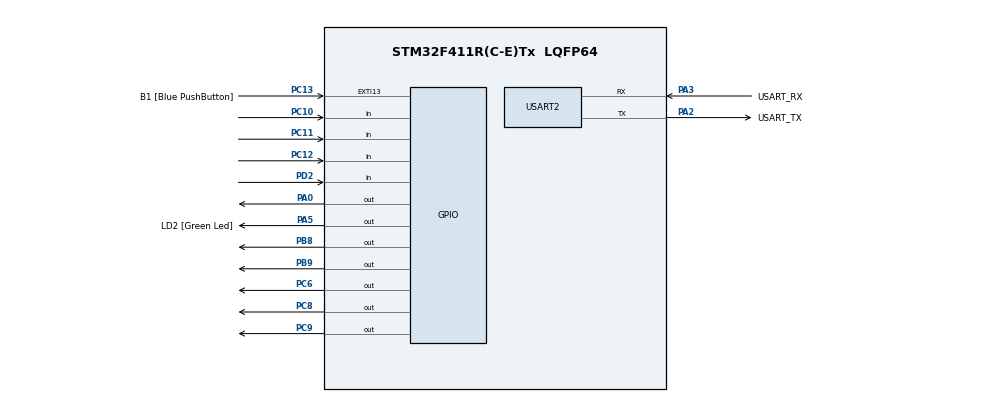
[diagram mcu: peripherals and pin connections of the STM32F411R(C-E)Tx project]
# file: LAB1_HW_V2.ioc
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Mcu.Family=STM32F4
Mcu.Name=STM32F411R(C-E)Tx
Mcu.Package=LQFP64
NVIC.PriorityGroup=NVIC_PRIORITYGROUP_0
PA0-WKUP.Signal=GPIO_Output
PA13.GPIO_Label=TMS
PA13.Mode=Serial_Wire
PA13.Signal=SYS_JTMS-SWDIO
PA14.GPIO_Label=TCK
PA14.Mode=Serial_Wire
PA14.Signal=SYS_JTCK-SWCLK
PA2.GPIO_Label=USART_TX
PA2.Mode=Asynchronous
PA2.Signal=USART2_TX
PA3.GPIO_Label=USART_RX
PA3.Mode=Asynchronous
PA3.Signal=USART2_RX
PA5.GPIO_Label=LD2 [Green Led]
PA5.Signal=GPIO_Output
PB3.GPIO_Label=SWO
PB3.Signal=SYS_JTDO-SWO
PB8.Signal=GPIO_Output
PB9.Signal=GPIO_Output
PC10.GPIO_PuPd=GPIO_PULLUP
PC10.Signal=GPIO_Input
PC11.GPIO_PuPd=GPIO_PULLUP
PC11.Signal=GPIO_Input
PC12.GPIO_PuPd=GPIO_PULLUP
PC12.Signal=GPIO_Input
PC13-ANTI_TAMP.GPIO_Label=B1 [Blue PushButton]
PC13-ANTI_TAMP.GPIO_ModeDefaultEXTI=GPIO_MODE_IT_FALLING
PC13-ANTI_TAMP.Signal=GPXTI13
PC14-OSC32_IN.Mode=LSE-External-Oscillator
PC14-OSC32_IN.Signal=RCC_OSC32_IN
PC15-OSC32_OUT.Mode=LSE-External-Oscillator
PC15-OSC32_OUT.Signal=RCC_OSC32_OUT
PC6.Signal=GPIO_Output
PC8.Signal=GPIO_Output
PC9.Signal=GPIO_Output
PD2.GPIO_PuPd=GPIO_PULLUP
PD2.Signal=GPIO_Input
PH0\ -\ OSC_IN.Mode=HSE-External-Clock-Source
PH0\ -\ OSC_IN.Signal=RCC_OSC_IN
PH1\ -\ OSC_OUT.Mode=HSE-External-Clock-Source
PH1\ -\ OSC_OUT.Signal=RCC_OSC_OUT
ProjectManager.HeapSize=0x200
ProjectManager.StackSize=0x400
ProjectManager.TargetToolchain=STM32CubeIDE
RCC.48MHZClocksFreq_Value=84000000
RCC.AHBFreq_Value=84000000
RCC.APB1CLKDivider=RCC_HCLK_DIV2
RCC.APB1Freq_Value=42000000
RCC.APB1TimFreq_Value=84000000
RCC.APB2Freq_Value=84000000
RCC.APB2TimFreq_Value=84000000
RCC.CortexFreq_Value=84000000
RCC.FLatency-AdvancedSettings=FLASH_LATENCY_2
RCC.HCLKFreq_Value=84000000
RCC.HSE_VALUE=8000000
RCC.HSI_VALUE=16000000
RCC.PLLN=336
RCC.PLLP=RCC_PLLP_DIV4
RCC.SYSCLKFreq_VALUE=84000000
RCC.SYSCLKSource=RCC_SYSCLKSOURCE_PLLCLK
RCC.VCOOutputFreq_Value=336000000
USART2.VirtualMode=VM_ASYNC
board=NUCLEO-F411RE

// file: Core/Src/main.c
/* USER CODE BEGIN Header */
/**
 ******************************************************************************
 * @file           : main.c
 * @brief          : Main program body
 ******************************************************************************
 * @attention
 *
 * Copyright (c) 2023 STMicroelectronics.
 * All rights reserved.
 *
 * This software is licensed under terms that can be found in the LICENSE file
 * in the root directory of this software component.
 * If no LICENSE file comes with this software, it is provided AS-IS.
 *
 ******************************************************************************
 */
/* USER CODE END Header */
#include "main.h"

UART_HandleTypeDef huart2;

/* USER CODE BEGIN PV */

//L1 = PC10
//L2 = PC11
//L3 = PC12
//L4 = PD2

//R1 = PC9
//R2 = PC8
//R3 = PB8
//R4 = PC6
static int keep_button[16];
static int assign_button[16];
static int state = 0;

static int current_button;
static int last_button;

//check state changing
static int error_count;
int last_state;

typedef struct test {
	char GPIO[20];
	char GPIO_PIN[20];
} Tester;

///tester Key_R1 = { GPIOC, GPIO_PIN_9 };
//tester Key_R2 = { GPIOC, GPIO_PIN_8 };
//tester Key_R3 = { GPIOB, GPIO_PIN_8 };
//tester Key_R4 = { GPIOC, GPIO_PIN_6 };
void assign(){
	for(int var = 0; var < 16; var++){
		assign_button[var] = keep_button[var];
	}
}

void set(char GPIO[], int GPIO_PIN) {
	GPIO_PinState HIGH = 1;
	HAL_GPIO_WritePin(GPIO, GPIO_PIN, HIGH);
}

void reset(char GPIO[], int GPIO_PIN) {
	GPIO_PinState LOW = 0;
	HAL_GPIO_WritePin(GPIO, GPIO_PIN, LOW);
}

void get_val(int case_num) {

	current_button = 0;

	keep_button[case_num * 4] = HAL_GPIO_ReadPin(GPIOC, GPIO_PIN_10);
	keep_button[case_num * 4 + 1] = HAL_GPIO_ReadPin(GPIOC, GPIO_PIN_11);
	keep_button[case_num * 4 + 2] = HAL_GPIO_ReadPin(GPIOC, GPIO_PIN_12);
	keep_button[case_num * 4 + 3] = HAL_GPIO_ReadPin(GPIOD, GPIO_PIN_2);

	for(int var = 0;var < case_num * 4 + 4;var++){
		if(keep_button[var] == 0){
			current_button = 1;
			break;
		}
	}

}

int see_val() {
	for (int var = 0; var < 16; ++var) {
		if (assign_button[var] == 0) {
			return var+1;
		}
	}
}

void light_an_led() {
	GPIO_PinState HIGH = 1;
	HAL_GPIO_WritePin(GPIOA, GPIO_PIN_5, HIGH);
}

void lid_an_led(){
	GPIO_PinState LOW = 0;
	HAL_GPIO_WritePin(GPIOA, GPIO_PIN_5, LOW);
}

void check_it(){
	static int check = 0;
//	GPIO_PinState Debug = 1;
	switch (check) {
		case 0:
			last_state = 0;
			if (see_val() == 10) {
				check += 1; //6
			} else if (see_val() == 13) {
				check = 0;
			} else if (see_val() != 10){
				check = 99;
				error_count++;
			}
			break;
		case 1:
			last_state = 1;
			if (see_val() == 2) {
				check += 1; //64
			} else if (see_val() == 13) {
				check = 0;
			} else if (see_val() != 2){
				check = 99;
				error_count++;
			}
			break;
		case 2:
		    last_state = 2;
			if (see_val() == 11) {
				check += 1; //643
			} else if (see_val() == 13) {
				check = 0;
			} else if (see_val() != 11){
				check = 99;
				error_count++;
			}
			break;
		case 3:
			last_state = 3;
			if (see_val() == 2) {
				check += 1; //6434
			} else if (see_val() == 13) {
				check = 0;
			} else if (see_val() != 2){
				check = 99;
				error_count++;
			}
			break;
		case 4:
			last_state = 4;
			if (see_val() == 4) {
				check += 1; //64340
			} else if (see_val() == 13) {
				check = 0;
			} else if (see_val() != 4){
				check = 99;
				error_count++;
			}
			break;
		case 5:
			last_state = 5;
			if (see_val() == 6) {
				check += 1; //643405
			} else if (see_val() == 13) {
				check = 0;
			} else if (see_val() != 6){
				check = 99;
				error_count++;
			}
			break;
		case 6:
			last_state = 6;
			if (see_val() == 4) {
				check += 1; //6434050
			} else if (see_val() == 13) {
				check = 0;
			} else if (see_val() != 4){
				check = 99;
				error_count++;
			}
			break;
		case 7:
			last_state = 7;
			if (see_val() == 4) {
				check += 1; //64340500
			} else if (see_val() == 13) {
				check = 0;
			} else if (see_val() != 4){
				check = 99;
				error_count++;
			}
			break;
		case 8:
			last_state = 8;
			if (see_val() == 4) {
				check += 1; //643405000
			} else if (see_val() == 13) {
				check = 0;
			} else if (see_val() != 4){
				check = 99;
				error_count++;
			}
			break;
		case 9:
			last_state = 9;
			if (see_val() == 6) {
				check += 1; //6434050005
			} else if (see_val() == 13) {
				check = 0;
			} else if (see_val() != 6){
				check = 99;
				error_count++;
			}
			break;
		case 10:
			last_state = 10;
			if (see_val() == 5) {
				check += 1; //64340500058
			} else if (see_val() == 13) {
				check = 0;
			} else if (see_val() != 5){
				check = 99;
				error_count++;
			}
			break;
		case 11:
			last_state = 11;
			if (see_val() == 16) {
				light_an_led();
				check = 12 ; //OK
			} else if (see_val() == 13) {
				check = 0;
			} else if (see_val() != 16){
				check = 99;
				error_count++;
			}
			break;
		case 12:
			last_state = 12;
			if (see_val() == 13){
				lid_an_led();
				check = 0;
			} else if(see_val() != 13){
				check = 99;
				error_count++;
			}
		break;
		case 99:
			if(see_val() == 14){
				error_count -= 1;
			}
			if(error_count <= 0){
				check = last_state;
			}
			else if(see_val() == 13){
				check = 0;
			}
			else if(see_val() != 14){
				error_count++;
			}
		break;
		}

//	else if (see_val() != 10){
//					check = 99;
//					error_count++;
//				}

}

/* USER CODE END PV */

void SystemClock_Config(void);
static void MX_GPIO_Init(void);
static void MX_USART2_UART_Init(void);

int main(void) {

	/* MCU Configuration--------------------------------------------------------*/

	/* Reset of all peripherals, Initializes the Flash interface and the Systick. */
	HAL_Init();

	/* Configure the system clock */
	SystemClock_Config();

	/* Initialize all configured peripherals */
	MX_GPIO_Init();
	MX_USART2_UART_Init();

	/* Infinite loop */
	while (1)
	{

		/* USER CODE BEGIN 3 */
		static uint32_t timestamp1 = 10;
		GPIO_PinState HIGH = 1;
		GPIO_PinState LOW = 0;

		if (timestamp1 <= HAL_GetTick()){
			timestamp1 = HAL_GetTick() + 10;

			switch(state) {
			case 0:
					//reset(tester[0], tester[2]);
					HAL_GPIO_WritePin(GPIOC, GPIO_PIN_9, LOW);
					get_val(state);
					HAL_GPIO_WritePin(GPIOC, GPIO_PIN_9, HIGH);
					HAL_GPIO_WritePin(GPIOC, GPIO_PIN_8, LOW);
					state++;

					//set(tester[0], tester[2]);

			break;
			case 1:
	//				reset(tester[0], tester[3]);
					get_val(state);
					HAL_GPIO_WritePin(GPIOC, GPIO_PIN_8, HIGH);
					HAL_GPIO_WritePin(GPIOB, GPIO_PIN_8, LOW);
					state++;

	//				set(tester[0], tester[3]);

			break;
			case 2:
	//				reset(tester[1], tester[3]);
					get_val(state);
					HAL_GPIO_WritePin(GPIOB, GPIO_PIN_8, HIGH);
					HAL_GPIO_WritePin(GPIOC, GPIO_PIN_6, LOW);
					state++;

	//				set(tester[1], tester[3]);

			break;
			case 3:
	//				reset(tester[0], tester[4]);
					get_val(state);
					HAL_GPIO_WritePin(GPIOC, GPIO_PIN_6, HIGH);
					HAL_GPIO_WritePin(GPIOC, GPIO_PIN_9, LOW);
	//				set(tester[0], tester[4]);

					if(current_button == 1){
						assign();
					}
					if (last_button == 1 && current_button == 0){
						check_it();
					}

				last_button = current_button;
				state = 0;
				break;

			}

		}

				/* USER CODE END 3 */

	}
}
			/**
			 * @brief System Clock Configuration
			 * @retval None
			 */
			void SystemClock_Config(void) {
				RCC_OscInitTypeDef RCC_OscInitStruct = { 0 };
				RCC_ClkInitTypeDef RCC_ClkInitStruct = { 0 };

				/** Configure the main internal regulator output voltage
				 */
				__HAL_RCC_PWR_CLK_ENABLE();
				__HAL_PWR_VOLTAGESCALING_CONFIG(PWR_REGULATOR_VOLTAGE_SCALE1);

				/** Initializes the RCC Oscillators according to the specified parameters
				 * in the RCC_OscInitTypeDef structure.
				 */
				RCC_OscInitStruct.OscillatorType = RCC_OSCILLATORTYPE_HSI;
				RCC_OscInitStruct.HSIState = RCC_HSI_ON;
				RCC_OscInitStruct.HSICalibrationValue =
						RCC_HSICALIBRATION_DEFAULT;
				RCC_OscInitStruct.PLL.PLLState = RCC_PLL_ON;
				RCC_OscInitStruct.PLL.PLLSource = RCC_PLLSOURCE_HSI;
				RCC_OscInitStruct.PLL.PLLM = 16;
				RCC_OscInitStruct.PLL.PLLN = 336;
				RCC_OscInitStruct.PLL.PLLP = RCC_PLLP_DIV4;
				RCC_OscInitStruct.PLL.PLLQ = 4;
				if (HAL_RCC_OscConfig(&RCC_OscInitStruct) != HAL_OK) {
					Error_Handler();
				}

				/** Initializes the CPU, AHB and APB buses clocks
				 */
				RCC_ClkInitStruct.ClockType = RCC_CLOCKTYPE_HCLK
						| RCC_CLOCKTYPE_SYSCLK | RCC_CLOCKTYPE_PCLK1
						| RCC_CLOCKTYPE_PCLK2;
				RCC_ClkInitStruct.SYSCLKSource = RCC_SYSCLKSOURCE_PLLCLK;
				RCC_ClkInitStruct.AHBCLKDivider = RCC_SYSCLK_DIV1;
				RCC_ClkInitStruct.APB1CLKDivider = RCC_HCLK_DIV2;
				RCC_ClkInitStruct.APB2CLKDivider = RCC_HCLK_DIV1;

				if (HAL_RCC_ClockConfig(&RCC_ClkInitStruct, FLASH_LATENCY_2)
						!= HAL_OK) {
					Error_Handler();
				}
			}

			/**
			 * @brief USART2 Initialization Function
			 * @param None
			 * @retval None
			 */
			static void MX_USART2_UART_Init(void) {

				huart2.Instance = USART2;
				huart2.Init.BaudRate = 115200;
				huart2.Init.WordLength = UART_WORDLENGTH_8B;
				huart2.Init.StopBits = UART_STOPBITS_1;
				huart2.Init.Parity = UART_PARITY_NONE;
				huart2.Init.Mode = UART_MODE_TX_RX;
				huart2.Init.HwFlowCtl = UART_HWCONTROL_NONE;
				huart2.Init.OverSampling = UART_OVERSAMPLING_16;
				if (HAL_UART_Init(&huart2) != HAL_OK) {
					Error_Handler();
				}

			}

			/**
			 * @brief GPIO Initialization Function
			 * @param None
			 * @retval None
			 */
			static void MX_GPIO_Init(void) {
				GPIO_InitTypeDef GPIO_InitStruct = { 0 };

				/* GPIO Ports Clock Enable */
				__HAL_RCC_GPIOC_CLK_ENABLE();
				__HAL_RCC_GPIOH_CLK_ENABLE();
				__HAL_RCC_GPIOA_CLK_ENABLE();
				__HAL_RCC_GPIOD_CLK_ENABLE();
				__HAL_RCC_GPIOB_CLK_ENABLE();

				/*Configure GPIO pin Output Level */
				HAL_GPIO_WritePin(LD2_GPIO_Port, LD2_Pin, GPIO_PIN_RESET);

				/*Configure GPIO pin Output Level */
				HAL_GPIO_WritePin(GPIOC, GPIO_PIN_6 | GPIO_PIN_8 | GPIO_PIN_9,
						GPIO_PIN_RESET);

				/*Configure GPIO pin Output Level */
				HAL_GPIO_WritePin(GPIOB, GPIO_PIN_8, GPIO_PIN_RESET);

				/*Configure GPIO pin : B1_Pin */
				GPIO_InitStruct.Pin = B1_Pin;
				GPIO_InitStruct.Mode = GPIO_MODE_IT_FALLING;
				GPIO_InitStruct.Pull = GPIO_NOPULL;
				HAL_GPIO_Init(B1_GPIO_Port, &GPIO_InitStruct);

				/*Configure GPIO pin : LD2_Pin */
				GPIO_InitStruct.Pin = LD2_Pin;
				GPIO_InitStruct.Mode = GPIO_MODE_OUTPUT_PP;
				GPIO_InitStruct.Pull = GPIO_NOPULL;
				GPIO_InitStruct.Speed = GPIO_SPEED_FREQ_LOW;
				HAL_GPIO_Init(LD2_GPIO_Port, &GPIO_InitStruct);

				/*Configure GPIO pins : PC6 PC8 PC9 */
				GPIO_InitStruct.Pin = GPIO_PIN_6 | GPIO_PIN_8 | GPIO_PIN_9;
				GPIO_InitStruct.Mode = GPIO_MODE_OUTPUT_PP;
				GPIO_InitStruct.Pull = GPIO_NOPULL;
				GPIO_InitStruct.Speed = GPIO_SPEED_FREQ_LOW;
				HAL_GPIO_Init(GPIOC, &GPIO_InitStruct);

				/*Configure GPIO pins : PC10 PC11 PC12 */
				GPIO_InitStruct.Pin = GPIO_PIN_10 | GPIO_PIN_11 | GPIO_PIN_12;
				GPIO_InitStruct.Mode = GPIO_MODE_INPUT;
				GPIO_InitStruct.Pull = GPIO_PULLUP;
				HAL_GPIO_Init(GPIOC, &GPIO_InitStruct);

				/*Configure GPIO pin : PD2 */
				GPIO_InitStruct.Pin = GPIO_PIN_2;
				GPIO_InitStruct.Mode = GPIO_MODE_INPUT;
				GPIO_InitStruct.Pull = GPIO_PULLUP;
				HAL_GPIO_Init(GPIOD, &GPIO_InitStruct);

				/*Configure GPIO pin : PB8 */
				GPIO_InitStruct.Pin = GPIO_PIN_8;
				GPIO_InitStruct.Mode = GPIO_MODE_OUTPUT_PP;
				GPIO_InitStruct.Pull = GPIO_NOPULL;
				GPIO_InitStruct.Speed = GPIO_SPEED_FREQ_LOW;
				HAL_GPIO_Init(GPIOB, &GPIO_InitStruct);

			}

			/**
			 * @brief  This function is executed in case of error occurrence.
			 * @retval None
			 */
			void Error_Handler(void) {
				__disable_irq();
				while (1) {
				}
			}
